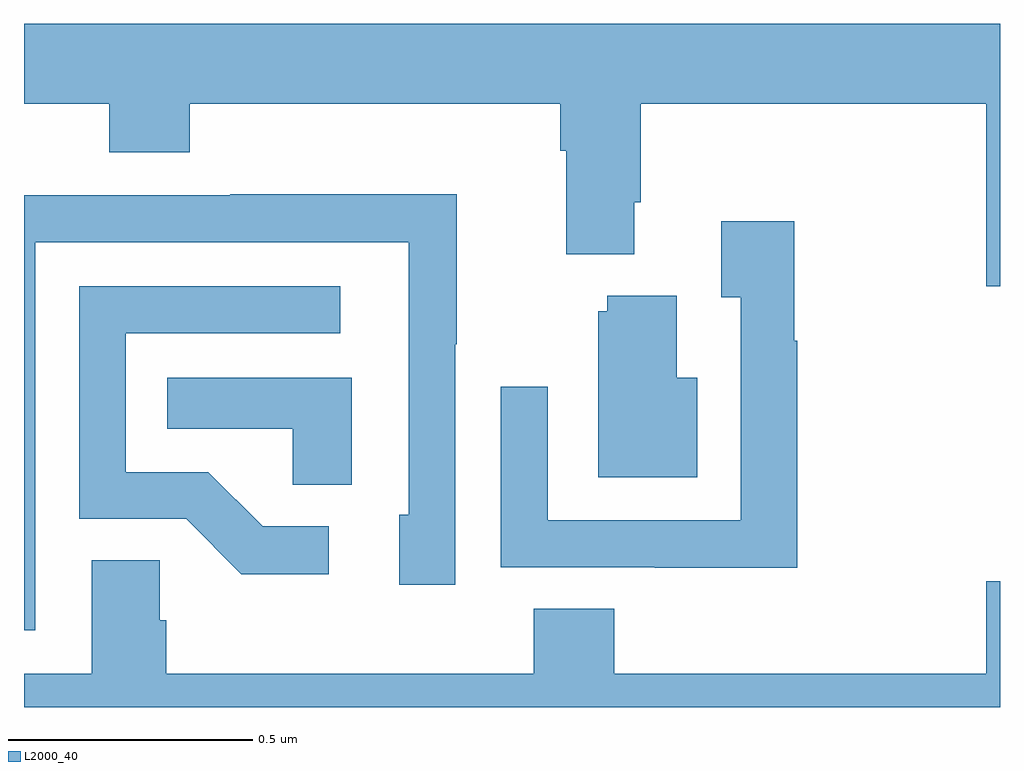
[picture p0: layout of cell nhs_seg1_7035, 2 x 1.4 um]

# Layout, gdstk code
import gdstk
lib = gdstk.Library(unit=1e-6, precision=1e-09)
def P(c, l, *ps):  # polygons
    for p in ps: c.add(gdstk.Polygon(p, *l))
L2000_40 = (2000, 40)

nhs_seg1_7035 = lib.new_cell('nhs_seg1_7035')
P(nhs_seg1_7035, L2000_40, [(201,514.6),(199,514.6),(199,514.436),(199.175,514.436),(199.175,514.337),(199.34,514.337),(199.34,514.436),(200.099,514.436),(200.099,514.34),(200.111,514.34),(200.111,514.127),(200.251,514.127),(200.251,514.234),(200.264,514.234),(200.264,514.436),(200.972,514.436),(200.972,514.062),(201,514.062)],
  [(199.023,514.152),(199.788,514.152),(199.788,513.594),(199.769,513.594),(199.769,513.45),(199.884,513.45),(199.884,513.943),(199.887,513.943),(199.887,514.25),(199.423,514.25),(199.423,514.248),(199,514.248),(199,513.357),(199.023,513.357)],
  [(200.585,513.95),(200.578,513.95),(200.578,514.195),(200.429,514.195),(200.429,514.039),(200.469,514.039),(200.469,513.582),(200.073,513.582),(200.073,513.856),(199.977,513.856),(199.977,513.486),(200.293,513.486),(200.293,513.485),(200.585,513.485)],
  [(199.624,513.57),(199.489,513.57),(199.378,513.681),(199.209,513.681),(199.209,513.966),(199.648,513.966),(199.648,514.062),(199.113,514.062),(199.113,513.585),(199.332,513.585),(199.445,513.472),(199.624,513.472)],
  [(200.38,513.874),(200.338,513.874),(200.338,514.042),(200.195,514.042),(200.195,514.011),(200.177,514.011),(200.177,513.671),(200.38,513.671)],
  [(199.672,513.874),(199.294,513.874),(199.294,513.77),(199.551,513.77),(199.551,513.655),(199.672,513.655)],
  [(201,513.457),(200.972,513.457),(200.972,513.268),(200.21,513.268),(200.21,513.401),(200.045,513.401),(200.045,513.268),(199.292,513.268),(199.292,513.377),(199.278,513.377),(199.278,513.5),(199.139,513.5),(199.139,513.268),(199,513.268),(199,513.199),(201,513.199)])

lib.write_gds('nhs_seg1_7035.gds')
